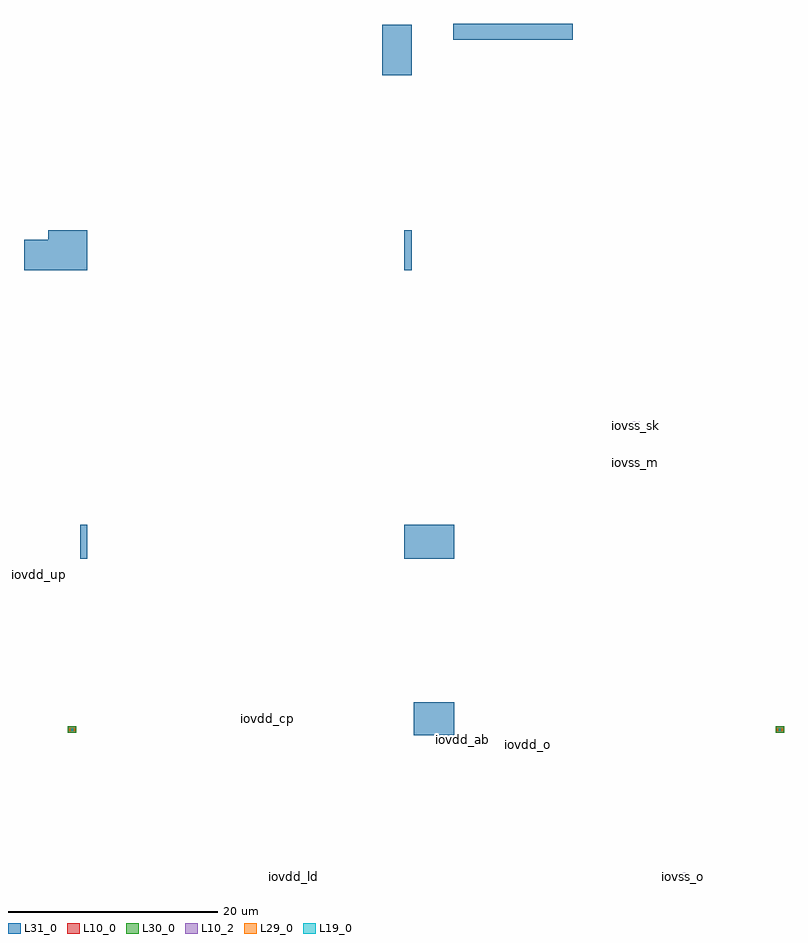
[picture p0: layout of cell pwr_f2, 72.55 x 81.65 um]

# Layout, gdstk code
import gdstk
lib = gdstk.Library(unit=1e-6, precision=1e-09)
def R(c, l, rs):  # rectangles x0, y0, x1, y1
    for r in rs: c.add(gdstk.rectangle(r[:2], r[2:], *l))
L10_0 = (10, 0)
L10_2 = (10, 2)
L19_0 = (19, 0)
L29_0 = (29, 0)
L30_0 = (30, 0)
L31_0 = (31, 0)

pwr_f2 = lib.new_cell('pwr_f2')
R(pwr_f2, L10_0, [(27.1,88.25,27.9,88.85), (64.4,88.25,65,88.85), (49.5,100.8,50.3,101.4), (43.3,101.25,44.1,101.85), (6,102.225,6.8,102.825), (73.55,102.225,74.35,102.825), (24.6,103.25,25.4,103.85), (2.9,117,3.7,117.6), (59.8,127.7,60.6,128.3), (59.8,131.3,60.6,131.9)])
R(pwr_f2, L10_2, [(27.1,88.25,27.9,88.85), (64.4,88.25,65,88.85), (49.5,100.8,50.3,101.4), (43.3,101.25,44.1,101.85), (24.6,103.25,25.4,103.85), (2.9,117,3.7,117.6), (59.8,127.7,60.6,128.3), (59.8,131.3,60.6,131.9)])
R(pwr_f2, L19_0, [(6.305,102.43,6.495,102.62), (73.855,102.43,74.045,102.62)])
R(pwr_f2, L29_0, [(27.2,88.455,27.39,88.645), (27.61,88.455,27.8,88.645), (49.6,101.005,49.79,101.195), (50.01,101.005,50.2,101.195), (43.4,101.455,43.59,101.645), (43.81,101.455,44,101.645), (6.1,102.43,6.29,102.62), (6.51,102.43,6.7,102.62), (73.65,102.43,73.84,102.62), (74.06,102.43,74.25,102.62), (24.7,103.455,24.89,103.645), (25.11,103.455,25.3,103.645), (3,117.205,3.19,117.395), (3.41,117.205,3.6,117.395), (59.9,127.905,60.09,128.095), (60.31,127.905,60.5,128.095), (59.9,131.505,60.09,131.695), (60.31,131.505,60.5,131.695)])
R(pwr_f2, L30_0, [(27.1,88.25,27.9,88.85), (49.5,100.8,50.3,101.4), (43.3,101.25,44.1,101.85), (6,102.225,6.8,102.825), (73.55,102.225,74.35,102.825), (24.6,103.25,25.4,103.85), (2.9,117,3.7,117.6), (59.8,127.7,60.6,128.3), (59.8,131.3,60.6,131.9)])
R(pwr_f2, L31_0, [(39,101.97,42.85,105.15), (7.19,118.82,7.82,122.08), (38.1,118.82,42.85,122.08), (1.8,146.36,4.13,149.27), (4.13,146.36,7.82,150.2), (38.1,146.36,38.82,150.2), (36,165.01,38.82,169.8), (42.8,168.4,54.2,169.9)])
pwr_f2.add(gdstk.Label('iovdd_ld', (27.5,88.55), layer=10, texttype=25))
pwr_f2.add(gdstk.Label('iovdd_cp', (25,103.55), layer=10, texttype=25))
pwr_f2.add(gdstk.Label('iovdd_ab', (43.7,101.55), layer=10, texttype=25))
pwr_f2.add(gdstk.Label('iovdd_o', (49.9,101.1), layer=10, texttype=25))
pwr_f2.add(gdstk.Label('iovdd_up', (3.3,117.3), layer=10, texttype=25))
pwr_f2.add(gdstk.Label('iovss_m', (60.2,128), layer=10, texttype=25))
pwr_f2.add(gdstk.Label('iovss_sk', (60.2,131.6), layer=10, texttype=25))
pwr_f2.add(gdstk.Label('iovss_o', (64.7,88.55), layer=10, texttype=25))

lib.write_gds('pwr_f2.gds')
